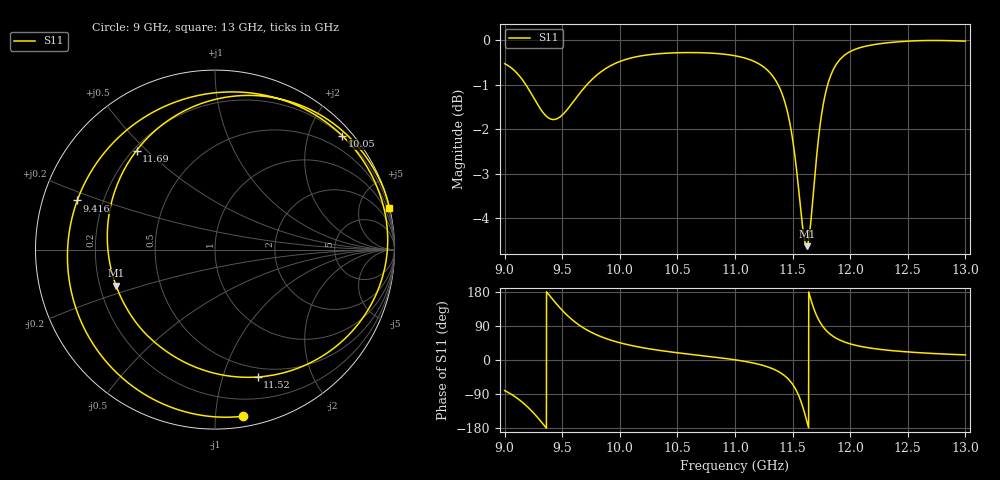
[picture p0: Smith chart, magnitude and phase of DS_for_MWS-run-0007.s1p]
! TOUCHSTONE file generated by CST DESIGN STUDIO
! Date and time: Tue Feb  4 12:52:49 2025
! Project name: C:\Work\MatlabApps\UnitCellOptimizationMatlab\CST\unitcell.cst
! Tree item: Tasks\Sweep1\SPara1\S-Parameters
! Header version: 2024
! Port assignment regex: !\s*Touchstone port\s*([0-9]+)\s*=\s*(CST MWS port|CST DES external port|CST DES block port)\s*(.+)\s* \(\"(.*)\"\)(\s*mode\s*([0-9]+))?.*
! Touchstone port assignment:
! Touchstone port 1 = CST DES external port 1 ("")
# GHz S MA R 50
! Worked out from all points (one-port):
!   4001 points, 9 GHz to 13 GHz, reference 50 ohm
!   lowest |S11| = -4.6 dB at 11.62 GHz (marker M1), VSWR 3.84, Z = 13.4 - j8.24 ohm
!   |S11| at or under -10 dB: nowhere
!   S11 on the Smith chart (normalised r, x): 9 GHz: 0.07, -1.18; 9.416 GHz: 0.11, +0.17; 10.05 GHz: 0.19, +2.61; 11.52 GHz: 0.41, -1.31; 11.69 GHz: 0.21, +0.47; 13 GHz: 0.07, +8.48
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9  0.9415 -80.6
9.112  0.9173 -101.5
9.202  0.8841 -124.5
9.317  0.8351 -162.7
9.416  0.8147 160.4
9.5  0.8241 131.2
9.583  0.8486 107.2
9.678  0.8803 85.9
9.827  0.9199 62.8
10  0.9468 45.5
10.049  0.9516 41.8
10.5  0.9685 19.1
11  0.961 0.5
11.337  0.9081 -24.5
11.429  0.8553 -41.1
11.5  0.7742 -64.1
11.516  0.7483 -71.5
11.571  0.6436 -108.0
11.622  0.5867 -159.9
11.656  0.6211 162.2
11.693  0.7041 128.4
11.734  0.7943 101.8
11.783  0.8691 80.7
11.876  0.9385 57.9
12  0.9715 42.5
12.191  0.9884 30.8
12.5  0.998 21.3
13  0.9981 13.4
